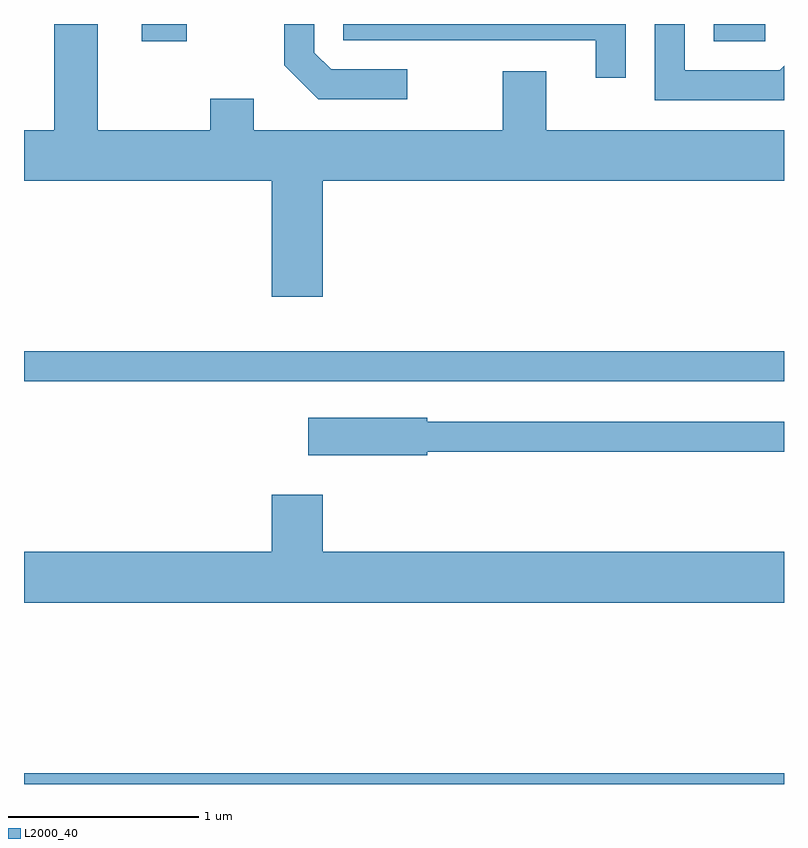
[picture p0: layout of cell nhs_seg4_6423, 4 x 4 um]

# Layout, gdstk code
import gdstk
lib = gdstk.Library(unit=1e-6, precision=1e-09)
def R(c, l, rs):  # rectangles x0, y0, x1, y1
    for r in rs: c.add(gdstk.rectangle(r[:2], r[2:], *l))
def P(c, l, *ps):  # polygons
    for p in ps: c.add(gdstk.Polygon(p, *l))
L2000_40 = (2000, 40)

nhs_seg4_6423 = lib.new_cell('nhs_seg4_6423')
R(nhs_seg4_6423, L2000_40, [(373.611,1315.982,377.611,1316.039), (373.611,1318.101,377.611,1318.259), (374.231,1319.891,374.468,1319.982), (377.241,1319.891,377.513,1319.982)])
P(nhs_seg4_6423, L2000_40, [(375.184,1319.156),(377.611,1319.156),(377.611,1319.424),(376.359,1319.424),(376.359,1319.734),(376.131,1319.734),(376.131,1319.424),(374.819,1319.424),(374.819,1319.589),(374.591,1319.589),(374.591,1319.424),(373.999,1319.424),(373.999,1319.982),(373.771,1319.982),(373.771,1319.424),(373.611,1319.424),(373.611,1319.156),(374.916,1319.156),(374.916,1318.546),(375.184,1318.546)],
  [(375.628,1319.744),(375.227,1319.744),(375.139,1319.832),(375.139,1319.982),(374.981,1319.982),(374.981,1319.764),(375.159,1319.586),(375.628,1319.586)],
  [(377.611,1319.761),(377.589,1319.739),(377.089,1319.739),(377.089,1319.982),(376.931,1319.982),(376.931,1319.581),(377.611,1319.581)],
  [(376.779,1319.982),(375.291,1319.982),(375.291,1319.896),(376.621,1319.896),(376.621,1319.698),(376.779,1319.698)],
  [(375.734,1317.731),(377.611,1317.731),(377.611,1317.889),(375.734,1317.889),(375.734,1317.909),(375.106,1317.909),(375.106,1317.711),(375.734,1317.711)],
  [(377.611,1317.204),(375.184,1317.204),(375.184,1317.504),(374.916,1317.504),(374.916,1317.204),(373.611,1317.204),(373.611,1316.936),(377.611,1316.936)])

lib.write_gds('nhs_seg4_6423.gds')
